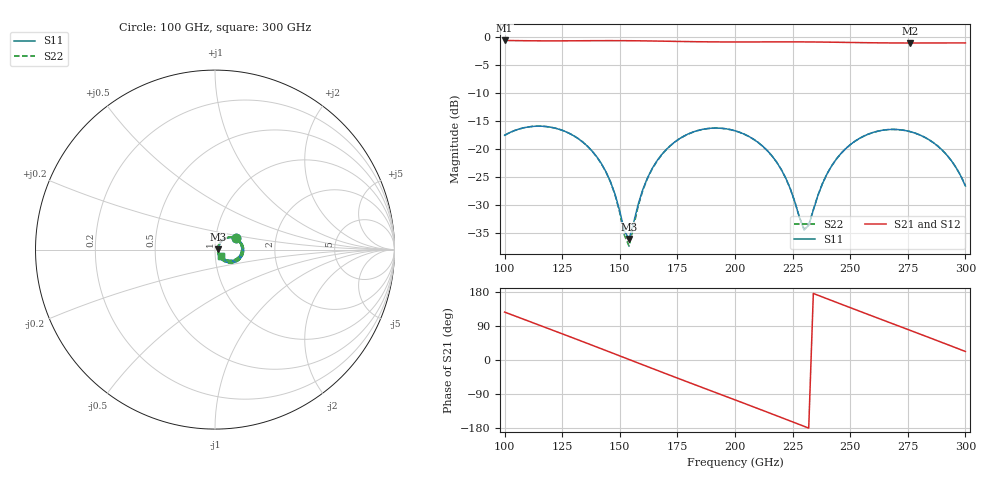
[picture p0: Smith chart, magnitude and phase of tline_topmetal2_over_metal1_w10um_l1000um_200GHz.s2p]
#  GHZ S DB R 50
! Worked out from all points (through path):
!   101 points, 100 GHz to 300 GHz, reference 50 ohm
!   highest |S21| = -0.69 dB at 100 GHz (marker M1); lowest = -1.1 dB at 276 GHz (marker M2)
!   group delay of S21, straight-line fit = 6.45 ps
!   lowest |S11| = -36.1 dB at 154 GHz (marker M3), VSWR 1.03, Z = 51.6 + j0.21 ohm
!   |S11| at or under -10 dB: start of sweep to end of sweep
!   |S22| runs from -37.3 to -15.9 dB; largest |S21 - S12| = 1.5e-13
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100  -17.57 28.8  -0.69 126.5  -0.69 126.5  -17.57 28.6
116  -15.95 -4.1  -0.75 89.8  -0.75 89.8  -15.95 -4.4
124  -16.54 -20.5  -0.76 71.4  -0.76 71.4  -16.54 -21.0
134  -18.80 -40.3  -0.74 48.3  -0.74 48.3  -18.80 -41.1
146  -25.88 -56.8  -0.72 20.2  -0.72 20.2  -25.95 -59.0
152  -34.62 -31.4  -0.73 6.1  -0.73 6.1  -35.39 -35.9
154  -36.06 7.4  -0.73 1.4  -0.73 1.4  -37.32 8.0
160  -27.20 53.4  -0.76 -12.7  -0.76 -12.7  -27.39 56.0
168  -21.10 46.4  -0.81 -31.5  -0.81 -31.5  -21.15 47.7
184  -16.70 16.1  -0.91 -68.5  -0.91 -68.5  -16.72 16.8
200  -16.76 -16.1  -0.95 -105.2  -0.95 -105.2  -16.78 -15.6
218  -22.31 -47.8  -0.94 -146.9  -0.94 -146.9  -22.32 -47.3
224  -27.10 -50.0  -0.94 -161.0  -0.94 -161.0  -27.10 -49.3
230  -34.42 -7.9  -0.95 -175.0  -0.95 -175.0  -34.31 -7.3
234  -30.89 41.9  -0.96 175.6  -0.96 175.6  -30.83 41.9
240  -24.41 51.6  -0.98 161.5  -0.98 161.5  -24.40 51.7
246  -20.81 44.8  -1.02 147.5  -1.02 147.5  -20.81 44.9
258  -17.34 23.1  -1.09 119.7  -1.09 119.7  -17.35 23.3
268  -16.53 3.3  -1.13 96.7  -1.13 96.7  -16.53 3.5
276  -16.92 -12.7  -1.14 78.3  -1.14 78.3  -16.92 -12.4
290  -20.24 -38.5  -1.13 45.9  -1.13 45.9  -20.24 -37.8
300  -26.60 -46.7  -1.12 22.5  -1.12 22.5  -26.51 -45.2
